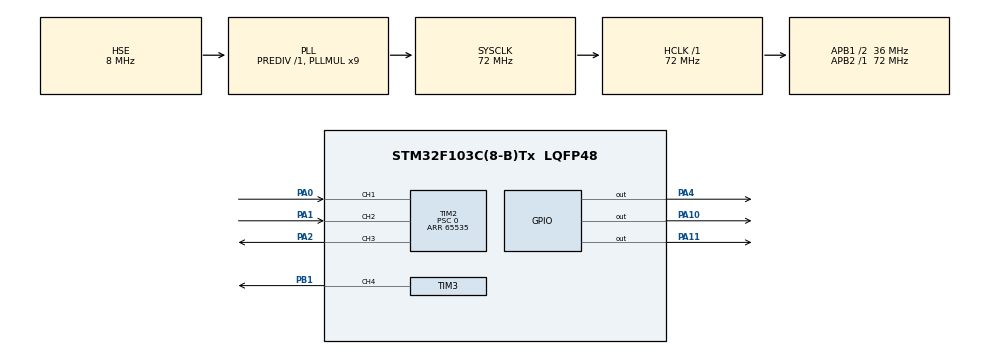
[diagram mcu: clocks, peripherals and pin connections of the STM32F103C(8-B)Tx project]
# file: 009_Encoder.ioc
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Mcu.Family=STM32F1
Mcu.Name=STM32F103C(8-B)Tx
Mcu.Package=LQFP48
NVIC.PriorityGroup=NVIC_PRIORITYGROUP_4
NVIC.TIM4_IRQn=true\:0\:0\:false\:false\:true\:true\:true\:true
PA0-WKUP.Signal=S_TIM2_CH1_ETR
PA1.Signal=S_TIM2_CH2
PA10.Signal=GPIO_Output
PA11.Signal=GPIO_Output
PA13.Mode=Serial_Wire
PA13.Signal=SYS_JTMS-SWDIO
PA14.Mode=Serial_Wire
PA14.Signal=SYS_JTCK-SWCLK
PA2.Signal=S_TIM2_CH3
PA4.Signal=GPIO_Output
PB1.Signal=S_TIM3_CH4
PD0-OSC_IN.Mode=HSE-External-Oscillator
PD0-OSC_IN.Signal=RCC_OSC_IN
PD1-OSC_OUT.Mode=HSE-External-Oscillator
PD1-OSC_OUT.Signal=RCC_OSC_OUT
ProjectManager.HeapSize=0x200
ProjectManager.StackSize=0x400
ProjectManager.TargetToolchain=MDK-ARM V5.32
RCC.AHBFreq_Value=72000000
RCC.APB1CLKDivider=RCC_HCLK_DIV2
RCC.APB1Freq_Value=36000000
RCC.APB1TimFreq_Value=72000000
RCC.APB2Freq_Value=72000000
RCC.APB2TimFreq_Value=72000000
RCC.HCLKFreq_Value=72000000
RCC.PLLMUL=RCC_PLL_MUL9
RCC.PLLSourceVirtual=RCC_PLLSOURCE_HSE
RCC.SYSCLKFreq_VALUE=72000000
RCC.SYSCLKSource=RCC_SYSCLKSOURCE_PLLCLK
RCC.USBFreq_Value=72000000
SH.S_TIM2_CH1_ETR.0=TIM2_CH1,Encoder_Interface
SH.S_TIM2_CH2.0=TIM2_CH2,Encoder_Interface
SH.S_TIM2_CH3.0=TIM2_CH3,PWM Generation3 CH3
SH.S_TIM3_CH4.0=TIM3_CH4,PWM Generation4 CH4
TIM2.Channel-PWM\ Generation3\ CH3=TIM_CHANNEL_3
TIM2.EncoderMode=TIM_ENCODERMODE_TI12
TIM2.Period=65535
TIM2.Prescaler=0
TIM3.Channel-PWM\ Generation4\ CH4=TIM_CHANNEL_4
TIM3.Period=65535
TIM4.Period=10000-1
TIM4.Prescaler=72-1
VP_TIM4_VS_ClockSourceINT.Mode=Internal
board=custom

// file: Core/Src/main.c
/* USER CODE BEGIN Header */
/**
  ******************************************************************************
  * @file           : main.c
  * @brief          : Main program body
  ******************************************************************************
  * @attention
  *
  * Copyright (c) 2023 STMicroelectronics.
  * All rights reserved.
  *
  * This software is licensed under terms that can be found in the LICENSE file
  * in the root directory of this software component.
  * If no LICENSE file comes with this software, it is provided AS-IS.
  *
  ******************************************************************************
  */
/* USER CODE END Header */
#include "main.h"
#include "tim.h"
#include "gpio.h"

/* USER CODE BEGIN PM */
 uint8_t brake=0;
 int16_t last_expect;
/* USER CODE END PM */

/* USER CODE BEGIN PV */
	int16_t GetData;//编码器数值
	uint8_t Direction;//编码器方向

	#define MAX_OUTPUT 65535
/* USER CODE END PV */

void SystemClock_Config(void);
/* USER CODE BEGIN PFP */
int16_t get_speed()
{
	int16_t speed=(int16_t)__HAL_TIM_GET_COUNTER(&htim2);
	speed-=50;
	Direction = __HAL_TIM_IS_TIM_COUNTING_DOWN(&htim2);
	__HAL_TIM_SET_COUNTER(&htim2,50);
	return speed;
}

typedef struct
{
	float kp;
	float ki;
	float kd;
	int32_t output;
	int16_t current;
	int16_t last;
	int16_t expect;
	float I;
}pid_t;

pid_t pid_motor1;

void pid_calc(pid_t* T) //
{
	float P,I,D;
	P=T->kp*(T->expect-T->current);
	T->I+=T->ki*(T->expect-T->current);
	D=T->kd*(T->current-T->last);

	T->output=(int32_t)(P+T->I+D);
}

void turn(int32_t input)
{

	if(input>0&&(!brake))
	{
		HAL_GPIO_WritePin(GPIOA,GPIO_PIN_10,0);
	  HAL_GPIO_WritePin(GPIOA,GPIO_PIN_11,1);
		TIM3->CCR4=(uint16_t)input;
	}
	else if(!brake)
	{
		HAL_GPIO_WritePin(GPIOA,GPIO_PIN_10,1);
	  HAL_GPIO_WritePin(GPIOA,GPIO_PIN_11,0);
		TIM3->CCR4=(uint16_t)(-input);
	}
	else if(brake)
	{
		HAL_GPIO_WritePin(GPIOA,GPIO_PIN_10,1);
	  HAL_GPIO_WritePin(GPIOA,GPIO_PIN_11,1);
		TIM3->CCR4=0;
	}
}

void PID_Cal(pid_t* T) //增量式
{
	short Error = T->expect - T->current;
	static short Error_last = 0,Error_prev = 0;
	short pwm_add=0;
	pwm_add = T->kp*(Error - Error_last) + T->ki*Error + T->kd*(Error-2.0f*Error_last+Error_prev);
	T->I+=T->ki*Error;

	Error_prev = Error_last;	  	    // 保存上上次误差
  Error_last = Error;	              // 保存上次偏差

	T->output=pwm_add;
}
//blog.csdn.net/QWQ_DIODA/article/details/116519580
int32_t Main_output=0;

void motor_task()
{
		GetData = get_speed();
	//如果数据剧烈跳变，对错误数据进行滤波
//		if(GetData*pid_motor1.expect<0)
//			pid_motor1.current=pid_motor1.last;
//		else
			pid_motor1.current=GetData;

		PID_Cal(&pid_motor1);
		Main_output+=pid_motor1.output;

		if(Main_output>MAX_OUTPUT) Main_output=MAX_OUTPUT;
		else if(Main_output<-MAX_OUTPUT) Main_output=-MAX_OUTPUT;
		//当方向相反，刹车100ms
		if(pid_motor1.expect*last_expect<0) brake+=5;
		if(brake) brake--;

		//更新状态值
		last_expect=pid_motor1.expect;
		pid_motor1.last=pid_motor1.current;

		turn(Main_output);
}

/* USER CODE END PFP */

int main(void)
{

  /* MCU Configuration--------------------------------------------------------*/

  /* Reset of all peripherals, Initializes the Flash interface and the Systick. */
  HAL_Init();

  /* Configure the system clock */
  SystemClock_Config();

  /* Initialize all configured peripherals */
  MX_GPIO_Init();
  MX_TIM2_Init();
  MX_TIM3_Init();
  MX_TIM4_Init();
  /* USER CODE BEGIN 2 */
	HAL_TIM_Encoder_Start(&htim2, TIM_CHANNEL_ALL);

  HAL_TIM_Base_Start_IT(&htim4);

	HAL_TIM_PWM_Start (&htim3,TIM_CHANNEL_4 );

	HAL_GPIO_WritePin(GPIOA,GPIO_PIN_10,0);
	HAL_GPIO_WritePin(GPIOA,GPIO_PIN_11,1);

	HAL_GPIO_WritePin(GPIOA,GPIO_PIN_4,1);
  TIM3->CCR4=0;

	pid_motor1.kp=800;
	pid_motor1.ki=100;
	pid_motor1.kd=0;
	pid_motor1.expect=15;

  /* USER CODE END 2 */

  /* Infinite loop */
  /* USER CODE BEGIN WHILE */
  while (1)
  {

		HAL_Delay(9);

		//turn(pid_motor1.output);

	  //pid_motor1.last=GetData;

    /* USER CODE END WHILE */

  }
}

void SystemClock_Config(void)
{
  RCC_OscInitTypeDef RCC_OscInitStruct = {0};
  RCC_ClkInitTypeDef RCC_ClkInitStruct = {0};

  /** Initializes the RCC Oscillators according to the specified parameters
  * in the RCC_OscInitTypeDef structure.
  */
  RCC_OscInitStruct.OscillatorType = RCC_OSCILLATORTYPE_HSE;
  RCC_OscInitStruct.HSEState = RCC_HSE_ON;
  RCC_OscInitStruct.HSEPredivValue = RCC_HSE_PREDIV_DIV1;
  RCC_OscInitStruct.HSIState = RCC_HSI_ON;
  RCC_OscInitStruct.PLL.PLLState = RCC_PLL_ON;
  RCC_OscInitStruct.PLL.PLLSource = RCC_PLLSOURCE_HSE;
  RCC_OscInitStruct.PLL.PLLMUL = RCC_PLL_MUL9;
  if (HAL_RCC_OscConfig(&RCC_OscInitStruct) != HAL_OK)
  {
    Error_Handler();
  }

  /** Initializes the CPU, AHB and APB buses clocks
  */
  RCC_ClkInitStruct.ClockType = RCC_CLOCKTYPE_HCLK|RCC_CLOCKTYPE_SYSCLK
                              |RCC_CLOCKTYPE_PCLK1|RCC_CLOCKTYPE_PCLK2;
  RCC_ClkInitStruct.SYSCLKSource = RCC_SYSCLKSOURCE_PLLCLK;
  RCC_ClkInitStruct.AHBCLKDivider = RCC_SYSCLK_DIV1;
  RCC_ClkInitStruct.APB1CLKDivider = RCC_HCLK_DIV2;
  RCC_ClkInitStruct.APB2CLKDivider = RCC_HCLK_DIV1;

  if (HAL_RCC_ClockConfig(&RCC_ClkInitStruct, FLASH_LATENCY_2) != HAL_OK)
  {
    Error_Handler();
  }
}

void Error_Handler(void)
{
  __disable_irq();
  while (1)
  {
  }
}
